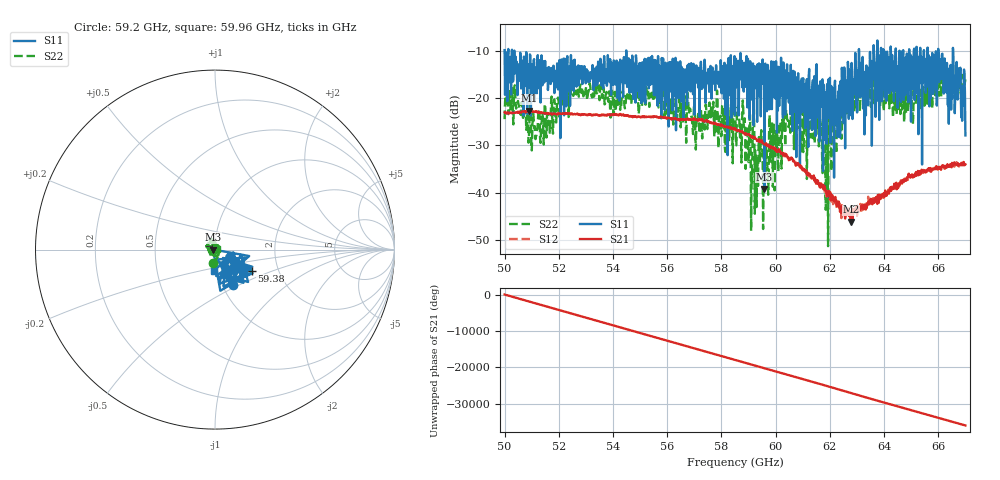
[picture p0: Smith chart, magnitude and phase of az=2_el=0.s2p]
!Created with skrf (http://scikit-rf.org).
# GHz S RI R 50.0
!freq ReS11 ImS11 ReS21 ImS21 ReS12 ImS12 ReS22 ImS22
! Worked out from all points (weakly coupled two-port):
!   1001 points, 50 GHz to 67 GHz, reference 50 ohm
!   highest |S21| = -22.64 dB at 50.92 GHz (marker M1); lowest = -46.2 dB at 62.78 GHz (marker M2)
!   lowest |S11| = -39.2 dB at 59.59 GHz (marker M3), VSWR 1.02, Z = 48.9 + j0.043 ohm
!   |S11| at or under -10 dB: 50.36 GHz to 54.49 GHz (4.13 GHz wide, 7.88 % of centre); 54.49 GHz to 63.07 GHz (8.583 GHz wide, 14.6 % of centre); 63.08 GHz to 63.61 GHz (538 MHz wide, 0.849 % of centre) (the widest 3 of 22)
!   |S22| runs from -51.4 to -13.8 dB; largest |S21 - S12| = 0.0022
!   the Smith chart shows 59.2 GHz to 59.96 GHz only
!   S11 on the Smith chart (normalised r, x): 59.2 GHz: 1.12, -0.46; 59.38 GHz: 1.46, -0.36; 59.96 GHz: 0.96, -0.24
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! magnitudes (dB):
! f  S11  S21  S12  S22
! 50 GHz  -9.8  -23.0  -23.0  -24.4
! 50.42 GHz  -13.4  -23.0  -23.0  -22.2
! 50.92 GHz  -17.8  -22.6  -22.7  -24.2
! 52.84 GHz  -14.3  -23.4  -23.5  -18.9
! 55.68 GHz  -13.5  -24.0  -24.1  -22.0
! 56.99 GHz  -14.9  -24.2  -24.4  -21.6
! 57.62 GHz  -15.8  -25.2  -25.2  -22.0
! 58.5 GHz  -23.6  -26.4  -26.6  -24.1
! 59.2 GHz  -13.2  -28.3  -28.2  -22.2
! 59.38 GHz  -12.6  -29.1  -29.2  -28.2
! 59.59 GHz  -39.2  -29.8  -29.7  -30.0
! 59.96 GHz  -18.3  -30.8  -30.6  -39.5
! 60.64 GHz  -14.2  -33.4  -33.0  -22.7
! 61.34 GHz  -26.7  -36.6  -36.6  -25.8
! 61.88 GHz  -29.6  -39.8  -40.9  -23.1
! 62.78 GHz  -23.6  -46.2  -44.7  -19.5
! 64.18 GHz  -18.8  -40.2  -39.9  -18.5
! 64.82 GHz  -12.5  -37.4  -37.3  -18.0
! 66.08 GHz  -15.4  -34.7  -34.6  -15.5
! 66.42 GHz  -15.3  -34.3  -34.5  -16.3
! 66.75 GHz  -17.6  -34.0  -34.2  -18.6
! 67 GHz  -27.9  -34.0  -33.8  -16.0
